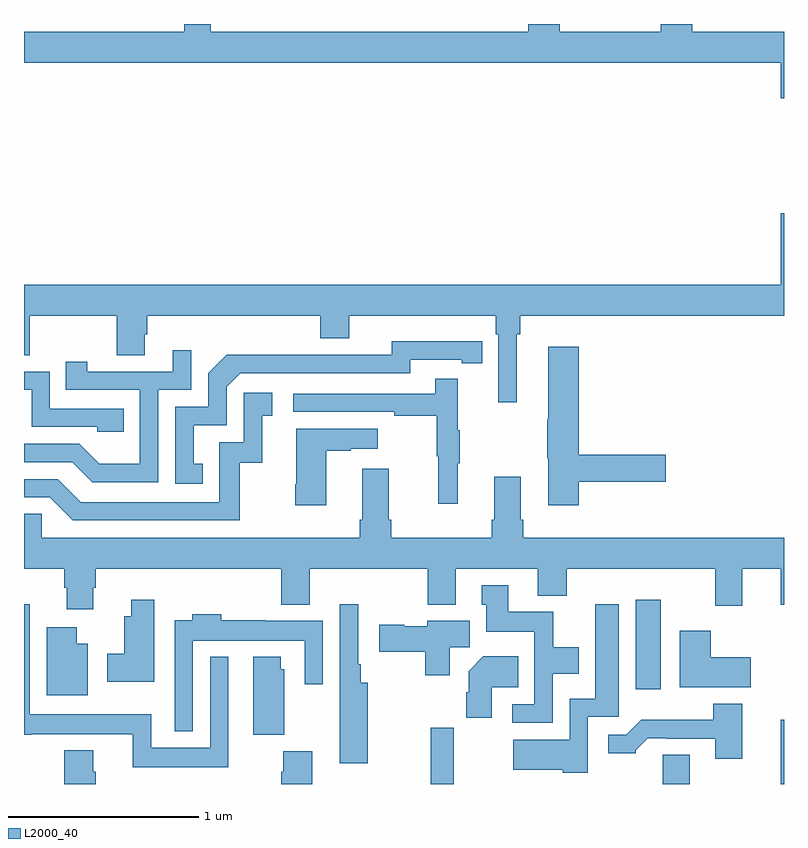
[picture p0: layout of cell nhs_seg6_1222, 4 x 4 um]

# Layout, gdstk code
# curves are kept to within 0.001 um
import gdstk
lib = gdstk.Library(unit=1e-6, precision=1e-09)
def R(c, l, rs):  # rectangles x0, y0, x1, y1
    for r in rs: c.add(gdstk.rectangle(r[:2], r[2:], *l))
def P(c, l, *ps):  # polygons
    for p in ps: c.add(gdstk.Polygon(p, *l))
L2000_40 = (2000, 40)

nhs_seg6_1222 = lib.new_cell('nhs_seg6_1222')
R(nhs_seg6_1222, L2000_40, [(187.14,983.5,187.261,983.797), (188.363,983.5,188.503,983.654), (188.984,983.5,189,983.839), (188.219,984,188.35,984.469)])
P(nhs_seg6_1222, L2000_40, [(189,987.46),(188.516,987.46),(188.516,987.5),(188.351,987.5),(188.351,987.46),(187.82,987.46),(187.82,987.5),(187.655,987.5),(187.655,987.46),(185.982,987.46),(185.982,987.5),(185.843,987.5),(185.843,987.46),(185,987.46),(185,987.296),(188.984,987.296),(188.984,987.108),(189,987.108)],
  [(187.594,985.868),(187.613,985.868),(187.613,985.964),(189,985.964),(189,986.503),(188.984,986.503),(188.984,986.128),(185,986.128),(185,985.756),(185.031,985.756),(185.031,985.964),(185.488,985.964),(185.488,985.756),(185.635,985.756),(185.635,985.866),(185.648,985.866),(185.648,985.964),(186.56,985.964),(186.56,985.847),(186.712,985.847),(186.712,985.964),(187.484,985.964),(187.484,985.868),(187.497,985.868),(187.497,985.509),(187.594,985.509)],
  [(185.942,985.185),(185.893,985.185),(185.893,985.389),(186.066,985.389),(186.066,985.59),(186.138,985.662),(187.032,985.662),(187.032,985.734),(187.304,985.734),(187.304,985.714),(187.412,985.714),(187.412,985.83),(186.936,985.831),(186.936,985.758),(186.476,985.758),(186.476,985.76),(186.068,985.76),(185.97,985.662),(185.97,985.485),(185.796,985.485),(185.796,985.08),(185.942,985.08)],
  [(187.919,985.09),(188.377,985.09),(188.377,985.232),(187.919,985.232),(187.919,985.801),(187.76,985.801),(187.76,985.421),(187.753,985.421),(187.753,985.215),(187.76,985.215),(187.76,984.966),(187.919,984.966)],
  [(185.706,985.575),(185.88,985.575),(185.88,985.783),(185.783,985.783),(185.783,985.671),(185.332,985.671),(185.332,985.723),(185.221,985.723),(185.221,985.575),(185.61,985.575),(185.61,985.186),(185.396,985.186),(185.292,985.29),(185,985.29),(185,985.194),(185.255,985.194),(185.36,985.089),(185.706,985.089)],
  [(185.525,985.476),(185.136,985.476),(185.136,985.671),(185,985.671),(185,985.575),(185.04,985.575),(185.04,985.38),(185.385,985.38),(185.385,985.353),(185.525,985.353)],
  [(187.283,985.187),(187.294,985.187),(187.294,985.361),(187.283,985.361),(187.283,985.633),(187.165,985.633),(187.165,985.554),(186.417,985.554),(186.417,985.458),(186.949,985.458),(186.949,985.438),(187.173,985.438),(187.173,985.224),(187.18,985.224),(187.18,984.975),(187.283,984.975)],
  [(186.136,985.191),(186.254,985.191),(186.254,985.437),(186.307,985.437),(186.307,985.558),(186.156,985.558),(186.156,985.299),(186.027,985.299),(186.027,984.984),(185.298,984.984),(185.178,985.104),(185,985.104),(185,985.008),(185.136,985.008),(185.256,984.888),(186.136,984.888)],
  [(186.592,985.255),(186.719,985.255),(186.719,985.265),(186.862,985.265),(186.862,985.369),(186.434,985.369),(186.434,985.078),(186.427,985.078),(186.427,984.966),(186.592,984.966)],
  [(185.365,984.534),(185.378,984.534),(185.378,984.632),(186.353,984.632),(186.353,984.443),(186.505,984.443),(186.505,984.632),(187.126,984.632),(187.126,984.443),(187.273,984.443),(187.273,984.632),(187.703,984.632),(187.703,984.491),(187.856,984.491),(187.856,984.632),(188.639,984.632),(188.639,984.438),(188.779,984.438),(188.779,984.632),(188.984,984.632),(188.984,984.444),(189,984.444),(189,984.796),(187.628,984.796),(187.628,984.892),(187.615,984.892),(187.615,985.117),(187.475,985.117),(187.475,984.892),(187.463,984.892),(187.463,984.796),(186.932,984.796),(186.932,984.892),(186.919,984.892),(186.919,985.159),(186.779,985.159),(186.779,984.892),(186.767,984.892),(186.767,984.796),(185.094,984.796),(185.094,984.923),(185,984.923),(185,984.632),(185.213,984.632),(185.213,984.534),(185.225,984.534),(185.225,984.42),(185.365,984.42)],
  [(187.782,984.08),(187.921,984.08),(187.921,984.22),(187.785,984.22),(187.785,984.406),(187.549,984.406),(187.549,984.547),(187.409,984.547),(187.409,984.444),(187.433,984.444),(187.433,984.302),(187.686,984.302),(187.686,983.919),(187.569,983.919),(187.569,983.823),(187.782,983.823)],
  [(185.686,984.469),(185.564,984.469),(185.564,984.382),(185.528,984.382),(185.528,984.186),(185.439,984.186),(185.439,984.038),(185.686,984.038)],
  [(186.809,984.034),(186.772,984.034),(186.772,984.13),(186.759,984.13),(186.759,984.445),(186.663,984.445),(186.663,983.93),(186.662,983.93),(186.662,983.61),(186.809,983.61)],
  [(186.076,984.169),(185.979,984.169),(185.979,983.692),(185.67,983.692),(185.67,983.866),(185.031,983.866),(185.031,984.445),(185,984.445),(185,983.76),(185.038,983.76),(185.038,983.762),(185.573,983.762),(185.573,983.588),(186.076,983.588)],
  [(187.968,983.853),(188.131,983.853),(188.131,984.445),(188.006,984.445),(188.006,983.95),(187.872,983.95),(187.872,983.734),(187.575,983.734),(187.575,983.576),(187.836,983.576),(187.836,983.558),(187.968,983.558)],
  [(185.889,984.254),(186.477,984.254),(186.477,984.024),(186.573,984.024),(186.573,984.358),(186.269,984.358),(186.269,984.361),(186.038,984.361),(186.038,984.394),(185.885,984.394),(185.885,984.361),(185.793,984.361),(185.793,983.777),(185.889,983.777)],
  [(187.24,984.22),(187.345,984.22),(187.345,984.358),(187.122,984.358),(187.122,984.331),(187.002,984.331),(187.002,984.339),(186.87,984.339),(186.87,984.197),(187.111,984.197),(187.111,984.072),(187.24,984.072)],
  [(185.335,984.238),(185.278,984.238),(185.278,984.325),(185.12,984.325),(185.12,983.966),(185.335,983.966)],
  [(188.824,984.166),(188.614,984.166),(188.614,984.307),(188.45,984.307),(188.45,984.008),(188.824,984.008)],
  [(187.462,984.008),(187.601,984.008),(187.601,984.172),(187.418,984.172),(187.34,984.094),(187.34,983.984),(187.328,983.984),(187.328,983.85),(187.462,983.85)],
  [(186.37,984.105),(186.352,984.105),(186.352,984.169),(186.206,984.169),(186.206,983.758),(186.37,983.758)],
  [(188.779,983.923),(188.627,983.923),(188.627,983.839),(188.248,983.839),(188.169,983.76),(188.076,983.76),(188.076,983.663),(188.22,983.663),(188.22,983.678),(188.284,983.742),(188.383,983.742),(188.383,983.739),(188.639,983.739),(188.639,983.634),(188.779,983.634)],
  [(185.378,983.565),(185.365,983.565),(185.365,983.677),(185.213,983.677),(185.213,983.5),(185.378,983.5)],
  [(186.518,983.673),(186.365,983.673),(186.365,983.564),(186.353,983.564),(186.353,983.5),(186.518,983.5)])

lib.write_gds('nhs_seg6_1222.gds')
